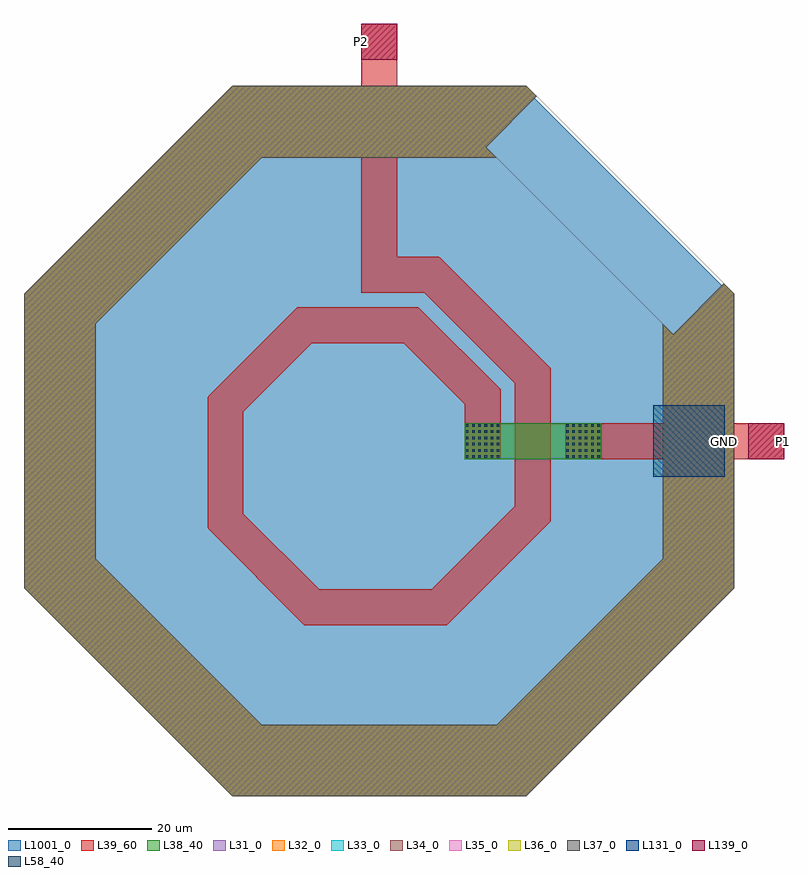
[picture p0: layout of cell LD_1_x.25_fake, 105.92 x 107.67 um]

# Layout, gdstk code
import gdstk
lib = gdstk.Library(unit=1e-6, precision=1e-09)
def R(c, l, rs):  # rectangles x0, y0, x1, y1
    for r in rs: c.add(gdstk.rectangle(r[:2], r[2:], *l))
def A(c, l, x, y, w, h, nx, ny, dx, dy):  # array of equal rectangles
    R(c, l, [(x+i*dx, y+j*dy, x+i*dx+w, y+j*dy+h) for i in range(nx) for j in range(ny)])
def P(c, l, *ps):  # polygons
    for p in ps: c.add(gdstk.Polygon(p, *l))
L31_0 = (31, 0)
L32_0 = (32, 0)
L33_0 = (33, 0)
L34_0 = (34, 0)
L35_0 = (35, 0)
L36_0 = (36, 0)
L37_0 = (37, 0)
L38_40 = (38, 40)
L39_60 = (39, 60)
L58_40 = (58, 40)
L131_0 = (131, 0)
L139_0 = (139, 0)
L1001_0 = (1001, 0)

ld_1_x_25_fake = lib.new_cell('LD_1_x.25_fake')
P(ld_1_x_25_fake, L31_0, [(40.966,14.898),(48.037,21.969),(20.504,49.501),(-20.504,49.501),(-49.501,20.504),(-49.501,-20.504),(-20.504,-49.501),(20.504,-49.501),(49.501,-20.504),(49.501,20.504),(21.969,48.037),(14.898,40.966),(39.501,16.362),(39.501,-16.362),(16.362,-39.501),(-16.362,-39.501),(-39.501,-16.362),(-39.501,16.362),(-16.362,39.501),(16.362,39.501)])
P(ld_1_x_25_fake, L32_0, [(40.966,14.898),(48.037,21.969),(20.504,49.501),(-20.504,49.501),(-49.501,20.504),(-49.501,-20.504),(-20.504,-49.501),(20.504,-49.501),(49.501,-20.504),(49.501,20.504),(21.969,48.037),(14.898,40.966),(39.501,16.362),(39.501,-16.362),(16.362,-39.501),(-16.362,-39.501),(-39.501,-16.362),(-39.501,16.362),(-16.362,39.501),(16.362,39.501)])
P(ld_1_x_25_fake, L33_0, [(40.966,14.898),(48.037,21.969),(20.504,49.501),(-20.504,49.501),(-49.501,20.504),(-49.501,-20.504),(-20.504,-49.501),(20.504,-49.501),(49.501,-20.504),(49.501,20.504),(21.969,48.037),(14.898,40.966),(39.501,16.362),(39.501,-16.362),(16.362,-39.501),(-16.362,-39.501),(-39.501,-16.362),(-39.501,16.362),(-16.362,39.501),(16.362,39.501)])
P(ld_1_x_25_fake, L34_0, [(40.966,14.898),(48.037,21.969),(20.504,49.501),(-20.504,49.501),(-49.501,20.504),(-49.501,-20.504),(-20.504,-49.501),(20.504,-49.501),(49.501,-20.504),(49.501,20.504),(21.969,48.037),(14.898,40.966),(39.501,16.362),(39.501,-16.362),(16.362,-39.501),(-16.362,-39.501),(-39.501,-16.362),(-39.501,16.362),(-16.362,39.501),(16.362,39.501)])
P(ld_1_x_25_fake, L35_0, [(40.966,14.898),(48.037,21.969),(20.504,49.501),(-20.504,49.501),(-49.501,20.504),(-49.501,-20.504),(-20.504,-49.501),(20.504,-49.501),(49.501,-20.504),(49.501,20.504),(21.969,48.037),(14.898,40.966),(39.501,16.362),(39.501,-16.362),(16.362,-39.501),(-16.362,-39.501),(-39.501,-16.362),(-39.501,16.362),(-16.362,39.501),(16.362,39.501)])
P(ld_1_x_25_fake, L36_0, [(40.966,14.898),(48.037,21.969),(20.504,49.501),(-20.504,49.501),(-49.501,20.504),(-49.501,-20.504),(-20.504,-49.501),(20.504,-49.501),(49.501,-20.504),(49.501,20.504),(21.969,48.037),(14.898,40.966),(39.501,16.362),(39.501,-16.362),(16.362,-39.501),(-16.362,-39.501),(-39.501,-16.362),(-39.501,16.362),(-16.362,39.501),(16.362,39.501)])
P(ld_1_x_25_fake, L37_0, [(40.966,14.898),(48.037,21.969),(20.504,49.501),(-20.504,49.501),(-49.501,20.504),(-49.501,-20.504),(-20.504,-49.501),(20.504,-49.501),(49.501,-20.504),(49.501,20.504),(21.969,48.037),(14.898,40.966),(39.501,16.362),(39.501,-16.362),(16.362,-39.501),(-16.362,-39.501),(-39.501,-16.362),(-39.501,16.362),(-16.362,39.501),(16.362,39.501)])
R(ld_1_x_25_fake, L38_40, [(11.92,-2.5,30.92,2.5)])
P(ld_1_x_25_fake, L38_40, [(40.966,14.898),(48.037,21.969),(20.504,49.501),(-20.504,49.501),(-49.501,20.504),(-49.501,-20.504),(-20.504,-49.501),(20.504,-49.501),(49.501,-20.504),(49.501,20.504),(21.969,48.037),(14.898,40.966),(39.501,16.362),(39.501,-16.362),(16.362,-39.501),(-16.362,-39.501),(-39.501,-16.362),(-39.501,16.362),(-16.362,39.501),(16.362,39.501)])
R(ld_1_x_25_fake, L39_60, [(25.92,-2.5,56.42,2.5), (-2.5,20.67,2.5,58.17)])
P(ld_1_x_25_fake, L39_60, [(11.92,-2.5),(16.92,-2.5),(16.92,7.221),(5.471,18.67),(-11.446,18.67),(-23.92,6.196),(-23.92,-12.171),(-10.421,-25.67),(9.396,-25.67),(23.92,-11.146),(23.92,10.121),(8.371,25.67),(0,25.67),(0,20.67),(6.299,20.67),(18.92,8.049),(18.92,-9.074),(7.324,-20.67),(-8.349,-20.67),(-18.92,-10.099),(-18.92,4.124),(-9.374,13.67),(3.399,13.67),(11.92,5.149)],
  [(40.966,14.898),(48.037,21.969),(20.504,49.501),(-20.504,49.501),(-49.501,20.504),(-49.501,-20.504),(-20.504,-49.501),(20.504,-49.501),(49.501,-20.504),(49.501,20.504),(21.969,48.037),(14.898,40.966),(39.501,16.362),(39.501,-16.362),(16.362,-39.501),(-16.362,-39.501),(-39.501,-16.362),(-39.501,16.362),(-16.362,39.501),(16.362,39.501)])
A(ld_1_x_25_fake, L58_40, 12.068, -2.35, 0.35, 0.35, 6, 6, 0.87, 0.87)
A(ld_1_x_25_fake, L58_40, 26.068, -2.35, 0.35, 0.35, 6, 6, 0.87, 0.87)
R(ld_1_x_25_fake, L131_0, [(38.17,-5,48.17,5)])
R(ld_1_x_25_fake, L139_0, [(51.42,-2.5,56.42,2.5), (-2.5,53.17,2.5,58.17)])
P(ld_1_x_25_fake, L1001_0, [(49.121,20.346),(20.346,49.121),(-20.346,49.121),(-49.121,20.346),(-49.121,-20.346),(-20.346,-49.121),(20.346,-49.121),(49.121,-20.346)],
  [(49.121,20.346),(20.346,49.121),(-20.346,49.121),(-49.121,20.346),(-49.121,-20.346),(-20.346,-49.121),(20.346,-49.121),(49.121,-20.346)],
  [(49.121,20.346),(20.346,49.121),(-20.346,49.121),(-49.121,20.346),(-49.121,-20.346),(-20.346,-49.121),(20.346,-49.121),(49.121,-20.346)],
  [(49.121,20.346),(20.346,49.121),(-20.346,49.121),(-49.121,20.346),(-49.121,-20.346),(-20.346,-49.121),(20.346,-49.121),(49.121,-20.346)],
  [(49.121,20.346),(20.346,49.121),(-20.346,49.121),(-49.121,20.346),(-49.121,-20.346),(-20.346,-49.121),(20.346,-49.121),(49.121,-20.346)],
  [(49.121,20.346),(20.346,49.121),(-20.346,49.121),(-49.121,20.346),(-49.121,-20.346),(-20.346,-49.121),(20.346,-49.121),(49.121,-20.346)],
  [(49.121,20.346),(20.346,49.121),(-20.346,49.121),(-49.121,20.346),(-49.121,-20.346),(-20.346,-49.121),(20.346,-49.121),(49.121,-20.346)],
  [(49.121,20.346),(20.346,49.121),(-20.346,49.121),(-49.121,20.346),(-49.121,-20.346),(-20.346,-49.121),(20.346,-49.121),(49.121,-20.346)],
  [(49.121,20.346),(20.346,49.121),(-20.346,49.121),(-49.121,20.346),(-49.121,-20.346),(-20.346,-49.121),(20.346,-49.121),(49.121,-20.346)])
ld_1_x_25_fake.add(gdstk.Label('P1', (56.418,0), layer=139, texttype=0))
ld_1_x_25_fake.add(gdstk.Label('P2', (-2.5,55.668), layer=139, texttype=0))
ld_1_x_25_fake.add(gdstk.Label('GND', (48.168,0), layer=131, texttype=0))

lib.write_gds('LD_1_x.25_fake.gds')
